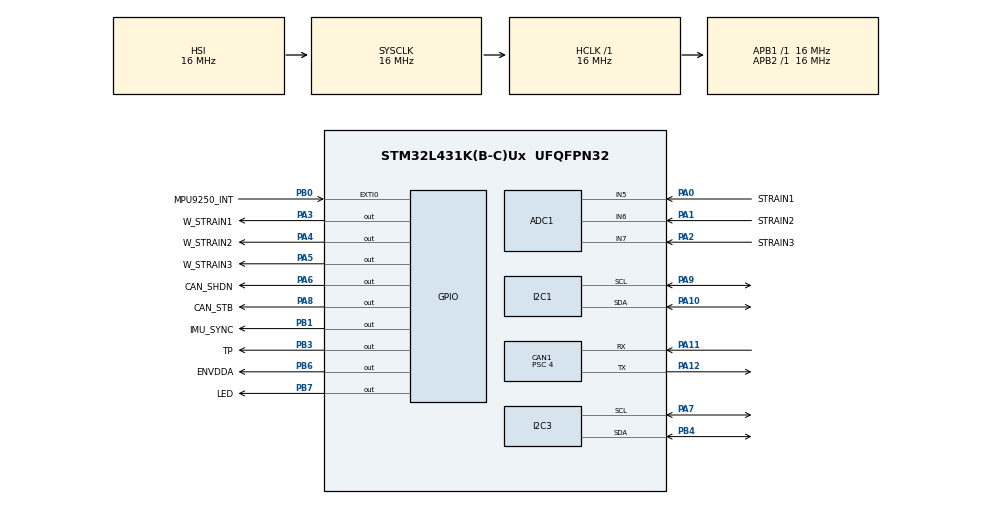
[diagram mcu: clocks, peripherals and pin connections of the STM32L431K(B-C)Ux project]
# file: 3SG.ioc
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ADC1.Channel-0\#ChannelRegularConversion=ADC_CHANNEL_5
ADC1.Channel-1\#ChannelRegularConversion=ADC_CHANNEL_6
ADC1.Channel-2\#ChannelRegularConversion=ADC_CHANNEL_7
ADC1.ClockPrescaler=ADC_CLOCK_ASYNC_DIV2
ADC1.ContinuousConvMode=ENABLE
ADC1.DMAContinuousRequests=ENABLE
ADC1.EOCSelection=ADC_EOC_SEQ_CONV
ADC1.NbrOfConversion=3
ADC1.NbrOfConversionFlag=1
ADC1.OffsetNumber-0\#ChannelRegularConversion=ADC_OFFSET_NONE
ADC1.OffsetNumber-1\#ChannelRegularConversion=ADC_OFFSET_NONE
ADC1.OffsetNumber-2\#ChannelRegularConversion=ADC_OFFSET_NONE
ADC1.OversamplingMode=ENABLE
ADC1.Rank-0\#ChannelRegularConversion=1
ADC1.Rank-1\#ChannelRegularConversion=2
ADC1.Rank-2\#ChannelRegularConversion=3
ADC1.Ratio=ADC_OVERSAMPLING_RATIO_32
ADC1.RightBitShift=ADC_RIGHTBITSHIFT_4
ADC1.SamplingTime-0\#ChannelRegularConversion=ADC_SAMPLETIME_6CYCLES_5
ADC1.SamplingTime-1\#ChannelRegularConversion=ADC_SAMPLETIME_6CYCLES_5
ADC1.SamplingTime-2\#ChannelRegularConversion=ADC_SAMPLETIME_6CYCLES_5
ADC1.master=1
CAN1.ABOM=ENABLE
CAN1.AWUM=ENABLE
CAN1.BS1=CAN_BS1_2TQ
CAN1.CalculateTimeQuantum=250.0
CAN1.Prescaler=4
Dma.ADC1.0.Direction=DMA_PERIPH_TO_MEMORY
Dma.ADC1.0.Instance=DMA1_Channel1
Dma.ADC1.0.MemDataAlignment=DMA_MDATAALIGN_HALFWORD
Dma.ADC1.0.MemInc=DMA_MINC_ENABLE
Dma.ADC1.0.Mode=DMA_CIRCULAR
Dma.ADC1.0.PeriphDataAlignment=DMA_PDATAALIGN_HALFWORD
Dma.ADC1.0.PeriphInc=DMA_PINC_DISABLE
Dma.ADC1.0.Priority=DMA_PRIORITY_LOW
Dma.I2C1_RX.1.Direction=DMA_PERIPH_TO_MEMORY
Dma.I2C1_RX.1.Instance=DMA1_Channel7
Dma.I2C1_RX.1.MemDataAlignment=DMA_MDATAALIGN_BYTE
Dma.I2C1_RX.1.MemInc=DMA_MINC_ENABLE
Dma.I2C1_RX.1.Mode=DMA_NORMAL
Dma.I2C1_RX.1.PeriphDataAlignment=DMA_PDATAALIGN_BYTE
Dma.I2C1_RX.1.PeriphInc=DMA_PINC_DISABLE
Dma.I2C1_RX.1.Priority=DMA_PRIORITY_LOW
Dma.I2C1_TX.2.Direction=DMA_MEMORY_TO_PERIPH
Dma.I2C1_TX.2.Instance=DMA1_Channel6
Dma.I2C1_TX.2.MemDataAlignment=DMA_MDATAALIGN_BYTE
Dma.I2C1_TX.2.MemInc=DMA_MINC_ENABLE
Dma.I2C1_TX.2.Mode=DMA_NORMAL
Dma.I2C1_TX.2.PeriphDataAlignment=DMA_PDATAALIGN_BYTE
Dma.I2C1_TX.2.PeriphInc=DMA_PINC_DISABLE
Dma.I2C1_TX.2.Priority=DMA_PRIORITY_LOW
Dma.I2C3_RX.3.Direction=DMA_PERIPH_TO_MEMORY
Dma.I2C3_RX.3.Instance=DMA1_Channel3
Dma.I2C3_RX.3.MemDataAlignment=DMA_MDATAALIGN_BYTE
Dma.I2C3_RX.3.MemInc=DMA_MINC_ENABLE
Dma.I2C3_RX.3.Mode=DMA_NORMAL
Dma.I2C3_RX.3.PeriphDataAlignment=DMA_PDATAALIGN_BYTE
Dma.I2C3_RX.3.PeriphInc=DMA_PINC_DISABLE
Dma.I2C3_RX.3.Priority=DMA_PRIORITY_LOW
Dma.I2C3_TX.4.Direction=DMA_MEMORY_TO_PERIPH
Dma.I2C3_TX.4.Instance=DMA1_Channel2
Dma.I2C3_TX.4.MemDataAlignment=DMA_MDATAALIGN_BYTE
Dma.I2C3_TX.4.MemInc=DMA_MINC_ENABLE
Dma.I2C3_TX.4.Mode=DMA_NORMAL
Dma.I2C3_TX.4.PeriphDataAlignment=DMA_PDATAALIGN_BYTE
Dma.I2C3_TX.4.PeriphInc=DMA_PINC_DISABLE
Dma.I2C3_TX.4.Priority=DMA_PRIORITY_LOW
Dma.Request0=ADC1
Dma.Request1=I2C1_RX
Dma.Request2=I2C1_TX
Dma.Request3=I2C3_RX
Dma.Request4=I2C3_TX
I2C1.Timing=0x00303D5B
I2C3.Timing=0x00303D5B
Mcu.Family=STM32L4
Mcu.Name=STM32L431K(B-C)Ux
Mcu.Package=UFQFPN32
NVIC.ADC1_IRQn=true\:0\:0\:false\:false\:true\:true
NVIC.CAN1_RX0_IRQn=true\:0\:0\:false\:false\:true\:true
NVIC.CAN1_RX1_IRQn=true\:0\:0\:false\:false\:true\:true
NVIC.CAN1_SCE_IRQn=true\:0\:0\:false\:false\:true\:true
NVIC.CAN1_TX_IRQn=true\:0\:0\:false\:false\:true\:true
NVIC.DMA1_Channel1_IRQn=true\:0\:0\:false\:false\:true\:false
NVIC.DMA1_Channel2_IRQn=true\:0\:0\:false\:false\:true\:false
NVIC.DMA1_Channel3_IRQn=true\:0\:0\:false\:false\:true\:false
NVIC.DMA1_Channel6_IRQn=true\:0\:0\:false\:false\:true\:false
NVIC.DMA1_Channel7_IRQn=true\:0\:0\:false\:false\:true\:false
NVIC.EXTI0_IRQn=true\:0\:0\:false\:false\:true\:true
NVIC.I2C1_ER_IRQn=true\:0\:0\:false\:false\:true\:true
NVIC.I2C1_EV_IRQn=true\:0\:0\:false\:false\:true\:true
NVIC.I2C3_ER_IRQn=true\:0\:0\:false\:false\:true\:true
NVIC.I2C3_EV_IRQn=true\:0\:0\:false\:false\:true\:true
NVIC.PriorityGroup=NVIC_PRIORITYGROUP_4
NVIC.TIM1_BRK_TIM15_IRQn=true\:0\:0\:false\:false\:true\:true
NVIC.TIM1_CC_IRQn=true\:0\:0\:false\:false\:true\:true
NVIC.TIM1_TRG_COM_IRQn=true\:0\:0\:false\:false\:true\:true
NVIC.TIM1_UP_TIM16_IRQn=true\:0\:0\:false\:false\:true\:true
NVIC.TIM2_IRQn=true\:0\:0\:false\:false\:true\:true
NVIC.TIM6_DAC_IRQn=true\:0\:0\:false\:false\:true\:true
NVIC.TIM7_IRQn=true\:0\:0\:false\:false\:true\:true
PA0.GPIO_Label=STRAIN1
PA0.Signal=ADCx_IN5
PA1.GPIO_Label=STRAIN2
PA1.Signal=ADCx_IN6
PA10.Mode=I2C
PA10.Signal=I2C1_SDA
PA11.Mode=Master
PA11.Signal=CAN1_RX
PA12.Mode=Master
PA12.Signal=CAN1_TX
PA13\ (JTMS-SWDIO).Mode=Serial_Wire
PA13\ (JTMS-SWDIO).Signal=SYS_JTMS-SWDIO
PA14\ (JTCK-SWCLK).Mode=Serial_Wire
PA14\ (JTCK-SWCLK).Signal=SYS_JTCK-SWCLK
PA2.GPIO_Label=STRAIN3
PA2.Signal=ADCx_IN7
PA3.GPIO_Label=W_STRAIN1
PA3.GPIO_ModeDefaultOutputPP=GPIO_MODE_OUTPUT_OD
PA3.PinState=GPIO_PIN_SET
PA3.Signal=GPIO_Output
PA4.GPIO_Label=W_STRAIN2
PA4.GPIO_ModeDefaultOutputPP=GPIO_MODE_OUTPUT_OD
PA4.PinState=GPIO_PIN_SET
PA4.Signal=GPIO_Output
PA5.GPIO_Label=W_STRAIN3
PA5.GPIO_ModeDefaultOutputPP=GPIO_MODE_OUTPUT_OD
PA5.PinState=GPIO_PIN_SET
PA5.Signal=GPIO_Output
PA6.GPIO_Label=CAN_SHDN
PA6.Signal=GPIO_Output
PA7.Mode=I2C
PA7.Signal=I2C3_SCL
PA8.GPIO_Label=CAN_STB
PA8.Signal=GPIO_Output
PA9.Mode=I2C
PA9.Signal=I2C1_SCL
PB0.GPIO_Label=MPU9250_INT
PB0.Signal=GPXTI0
PB1.GPIO_Label=IMU_SYNC
PB1.Signal=GPIO_Output
PB3\ (JTDO-TRACESWO).GPIO_Label=TP
PB3\ (JTDO-TRACESWO).Signal=GPIO_Output
PB4\ (NJTRST).Mode=I2C
PB4\ (NJTRST).Signal=I2C3_SDA
PB6.GPIO_Label=ENVDDA
PB6.GPIO_PuPd=GPIO_PULLDOWN
PB6.Signal=GPIO_Output
PB7.GPIO_Label=LED
PB7.Signal=GPIO_Output
ProjectManager.HeapSize=0x200
ProjectManager.StackSize=0x400
ProjectManager.TargetToolchain=MDK-ARM V5
RCC.ADCFreq_Value=80000000
RCC.AHBFreq_Value=16000000
RCC.APB1Freq_Value=16000000
RCC.APB1TimFreq_Value=16000000
RCC.APB2Freq_Value=16000000
RCC.APB2TimFreq_Value=16000000
RCC.CortexFreq_Value=16000000
RCC.HCLKFreq_Value=16000000
RCC.HSE_VALUE=8000000
RCC.HSI48_VALUE=48000000
RCC.HSI_VALUE=16000000
RCC.LSE_VALUE=32768
RCC.MSI_VALUE=4000000
RCC.PLLSAI1N=10
RCC.PLLSourceVirtual=RCC_PLLSOURCE_HSI
RCC.SYSCLKFreq_VALUE=16000000
RCC.SYSCLKSource=RCC_SYSCLKSOURCE_HSI
RCC.VCOOutputFreq_Value=128000000
SH.ADCx_IN5.0=ADC1_IN5,IN5-Single-Ended
SH.ADCx_IN6.0=ADC1_IN6,IN6-Single-Ended
SH.ADCx_IN7.0=ADC1_IN7,IN7-Single-Ended
TIM1.Period=10000
TIM1.Prescaler=16
TIM15.Period=200
TIM15.Prescaler=1600
TIM16.Period=1000
TIM16.Prescaler=1600
TIM2.Period=10000
TIM2.Prescaler=16
TIM6.Period=1
TIM6.Prescaler=1600
TIM7.Period=1
TIM7.Prescaler=1600
VP_TIM15_VS_ClockSourceINT.Mode=Internal
VP_TIM16_VS_ClockSourceINT.Mode=Enable_Timer
VP_TIM1_VS_ClockSourceINT.Mode=Internal
VP_TIM2_VS_ClockSourceINT.Mode=Internal
VP_TIM6_VS_ClockSourceINT.Mode=Enable_Timer
VP_TIM7_VS_ClockSourceINT.Mode=Enable_Timer
board=custom

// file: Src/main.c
/* USER CODE BEGIN Header */
/**
  ******************************************************************************
  * @file           : main.c
  * @brief          : Main program body
  ******************************************************************************
  ** This notice applies to any and all portions of this file
  * that are not between comment pairs USER CODE BEGIN and
  * USER CODE END. Other portions of this file, whether
  * inserted by the user or by software development tools
  * are owned by their respective copyright owners.
  *
  * COPYRIGHT(c) 2019 STMicroelectronics
  *
  * Redistribution and use in source and binary forms, with or without modification,
  * are permitted provided that the following conditions are met:
  *   1. Redistributions of source code must retain the above copyright notice,
  *      this list of conditions and the following disclaimer.
  *   2. Redistributions in binary form must reproduce the above copyright notice,
  *      this list of conditions and the following disclaimer in the documentation
  *      and/or other materials provided with the distribution.
  *   3. Neither the name of STMicroelectronics nor the names of its contributors
  *      may be used to endorse or promote products derived from this software
  *      without specific prior written permission.
  *
  * THIS SOFTWARE IS PROVIDED BY THE COPYRIGHT HOLDERS AND CONTRIBUTORS "AS IS"
  * AND ANY EXPRESS OR IMPLIED WARRANTIES, INCLUDING, BUT NOT LIMITED TO, THE
  * IMPLIED WARRANTIES OF MERCHANTABILITY AND FITNESS FOR A PARTICULAR PURPOSE ARE
  * DISCLAIMED. IN NO EVENT SHALL THE COPYRIGHT HOLDER OR CONTRIBUTORS BE LIABLE
  * FOR ANY DIRECT, INDIRECT, INCIDENTAL, SPECIAL, EXEMPLARY, OR CONSEQUENTIAL
  * DAMAGES (INCLUDING, BUT NOT LIMITED TO, PROCUREMENT OF SUBSTITUTE GOODS OR
  * SERVICES; LOSS OF USE, DATA, OR PROFITS; OR BUSINESS INTERRUPTION) HOWEVER
  * CAUSED AND ON ANY THEORY OF LIABILITY, WHETHER IN CONTRACT, STRICT LIABILITY,
  * OR TORT (INCLUDING NEGLIGENCE OR OTHERWISE) ARISING IN ANY WAY OUT OF THE USE
  * OF THIS SOFTWARE, EVEN IF ADVISED OF THE POSSIBILITY OF SUCH DAMAGE.
  *
  ******************************************************************************
  */
/* USER CODE END Header */

#include "main.h"
#include "adc.h"
#include "can.h"
#include "dma.h"
#include "i2c.h"
#include "tim.h"
#include "gpio.h"

/* USER CODE BEGIN Includes */
#include "define.h"
#include "global_var.h"
#include "can_utility.h"
#include "Si705x.h"
#include "MPU9250.h"
#include "PGA308.h"

/* USER CODE END Includes */

/* USER CODE BEGIN PV */
char Firmware_vers = 0;
char Revision_vers = 0;
char Build_number  = 0;

uint8_t can_message = 0;
uint32_t Temperature_TOPboard;

uint8_t CHANNEL=1;

uint8_t PGA308_DimBufferTXbit=8*PGA308_DimBufferTX;
uint8_t bit_count=0;
uint8_t byte_count=0;
uint8_t bit_count_rel=0;

/* USER CODE END PV */

void SystemClock_Config(void);
/* USER CODE BEGIN PFP */

void TIMER_Init(void);
void CANBUS(void);
void TIMER_PROG(uint16_t value);
void SelfCalibration(uint8_t channel, uint8_t reg);
void PGA_CoarseOffset_Calib(uint8_t channel, uint16_t DAC_OUT);
void PGA_FineOffset_Calib(uint8_t channel, uint16_t DAC_OUT);
void PGA_StableRegister(uint16_t REGISTER);

/* USER CODE END PFP */

int main(void)
{

  /* MCU Configuration--------------------------------------------------------*/

  /* Reset of all peripherals, Initializes the Flash interface and the Systick. */
  HAL_Init();

  /* Configure the system clock */
  SystemClock_Config();

  /* Initialize all configured peripherals */
  MX_GPIO_Init();
  MX_DMA_Init();
  MX_ADC1_Init();
  MX_CAN1_Init();
  MX_I2C1_Init();
  MX_I2C3_Init();
  MX_TIM1_Init();
  MX_TIM2_Init();
  MX_TIM6_Init();
  MX_TIM7_Init();
  MX_TIM15_Init();
  MX_TIM16_Init();
  /* USER CODE BEGIN 2 */

  TIMER_Init();
  CAN_Config();
  MPU9250_init();
  PGA308_init();

  HAL_ADCEx_Calibration_Start(&hadc1, ADC_SINGLE_ENDED);
  HAL_Delay(100);
  HAL_ADC_Start_DMA(&hadc1, (uint32_t*)adc_values, STRAIN_CHANNELS);

  REGISTER=RAM_CFG0;

  //PGA308_DefaultConfig();

  //HAL_Delay(100);
  /* USER CODE END 2 */

  /* Infinite loop */
  /* USER CODE BEGIN WHILE */
  while (1)
  {
    if(PGA308_StartCalib){
      TIMER_PROG(1000);
      PGA308_StartCalib=0;
      PGA308_DefaultConfig();
    }
    else
    {
      if(REG_OK==0) {SelfCalibration(CHANNEL, REGISTER);}
      else{
        if(CHANNEL<STRAIN_CHANNELS) {
          REG_OK=0;
          CHANNEL++;
        }
        else{
          if(REGISTER==RAM_CFG0){
            HAL_Delay(100);
            REGISTER=RAM_ZDAC;
            REG_OK=0;
            CHANNEL=1;
          }
          else if(REGISTER==RAM_ZDAC){
            TIMER_PROG(10000);
            REGISTER=RAM_GDAC;
          }
        }
      }
    }

    Si705x_ReadTemperature();
    MPU9250();
    HAL_Delay(100);
    CANBUS();

//    LED_ON;
//    //HAL_GPIO_WritePin(LED_GPIO_Port, LED_Pin, GPIO_PIN_RESET);
//    //HAL_GPIO_TogglePin(LED_GPIO_Port, LED_Pin);
//    HAL_Delay(200);
//    LED_OFF;
//    //HAL_GPIO_WritePin(LED_GPIO_Port, LED_Pin, GPIO_PIN_SET);

    /* USER CODE END WHILE */

  }
}

void SystemClock_Config(void)
{
  RCC_OscInitTypeDef RCC_OscInitStruct = {0};
  RCC_ClkInitTypeDef RCC_ClkInitStruct = {0};
  RCC_PeriphCLKInitTypeDef PeriphClkInit = {0};

  /**Initializes the CPU, AHB and APB busses clocks
  */
  RCC_OscInitStruct.OscillatorType = RCC_OSCILLATORTYPE_HSI;
  RCC_OscInitStruct.HSIState = RCC_HSI_ON;
  RCC_OscInitStruct.HSICalibrationValue = RCC_HSICALIBRATION_DEFAULT;
  RCC_OscInitStruct.PLL.PLLState = RCC_PLL_NONE;
  if (HAL_RCC_OscConfig(&RCC_OscInitStruct) != HAL_OK)
  {
    Error_Handler();
  }
  /**Initializes the CPU, AHB and APB busses clocks
  */
  RCC_ClkInitStruct.ClockType = RCC_CLOCKTYPE_HCLK|RCC_CLOCKTYPE_SYSCLK
                              |RCC_CLOCKTYPE_PCLK1|RCC_CLOCKTYPE_PCLK2;
  RCC_ClkInitStruct.SYSCLKSource = RCC_SYSCLKSOURCE_HSI;
  RCC_ClkInitStruct.AHBCLKDivider = RCC_SYSCLK_DIV1;
  RCC_ClkInitStruct.APB1CLKDivider = RCC_HCLK_DIV1;
  RCC_ClkInitStruct.APB2CLKDivider = RCC_HCLK_DIV1;

  if (HAL_RCC_ClockConfig(&RCC_ClkInitStruct, FLASH_LATENCY_0) != HAL_OK)
  {
    Error_Handler();
  }
  PeriphClkInit.PeriphClockSelection = RCC_PERIPHCLK_I2C1|RCC_PERIPHCLK_I2C3
                              |RCC_PERIPHCLK_ADC;
  PeriphClkInit.I2c1ClockSelection = RCC_I2C1CLKSOURCE_PCLK1;
  PeriphClkInit.I2c3ClockSelection = RCC_I2C3CLKSOURCE_PCLK1;
  PeriphClkInit.AdcClockSelection = RCC_ADCCLKSOURCE_PLLSAI1;
  PeriphClkInit.PLLSAI1.PLLSAI1Source = RCC_PLLSOURCE_HSI;
  PeriphClkInit.PLLSAI1.PLLSAI1M = 1;
  PeriphClkInit.PLLSAI1.PLLSAI1N = 10;
  PeriphClkInit.PLLSAI1.PLLSAI1P = RCC_PLLP_DIV7;
  PeriphClkInit.PLLSAI1.PLLSAI1Q = RCC_PLLQ_DIV2;
  PeriphClkInit.PLLSAI1.PLLSAI1R = RCC_PLLR_DIV2;
  PeriphClkInit.PLLSAI1.PLLSAI1ClockOut = RCC_PLLSAI1_ADC1CLK;
  if (HAL_RCCEx_PeriphCLKConfig(&PeriphClkInit) != HAL_OK)
  {
    Error_Handler();
  }
  /**Configure the main internal regulator output voltage
  */
  if (HAL_PWREx_ControlVoltageScaling(PWR_REGULATOR_VOLTAGE_SCALE1) != HAL_OK)
  {
    Error_Handler();
  }
}

/* USER CODE BEGIN 4 */

// -----------------------------------------------------------------------------------------------------------------------------
// CAN messages management
// -----------------------------------------------------------------------------------------------------------------------------
void CANBUS(void){
	switch(can_message){
    case 0x00:
    {
      TxData[0] = 0xFF;               //
      TxData[1] = can_message;        //
      TxData[2] = Firmware_vers;      // Firmware version
      TxData[3] = Revision_vers;      // Revision version
      TxData[4] = Build_number;       // Build number
      TxData[5] = PGA308[1].CFG0_OS>>8;
      TxData[6] = PGA308[1].CFG0_OS;
      TxData[7] = 0;
      if (HAL_CAN_AddTxMessage(&hcan1, &TxHeader, TxData, &TxMailbox) != HAL_OK){
        /* Transmission request Error */
        Error_Handler();
      }
      can_message = 1;
    }
    break;

    case 0x01:
    {
      TxData[0] = 0xFF;
      TxData[1] = can_message;
      TxData[2] = ((adc_measure.STRAIN1)>>8) & 0x000000FF;
      TxData[3] = adc_measure.STRAIN1 & 0x000000FF;
      TxData[4] = ((adc_measure.STRAIN2)>>8) & 0x000000FF;
      TxData[5] = adc_measure.STRAIN2 & 0x000000FF;
      TxData[6] = ((adc_measure.STRAIN3)>>8) & 0x000000FF;
      TxData[7] = adc_measure.STRAIN3 & 0x000000FF;
      if (HAL_CAN_AddTxMessage(&hcan1, &TxHeader, TxData, &TxMailbox) != HAL_OK){
        /* Transmission request Error */
        Error_Handler();
      }
      can_message = 2;
    }
    break;

    case 0x02:
    {
      TxData[0] = 0xFF;
      TxData[1] = can_message;
      TxData[2] = Temperature_board>>8;
      TxData[3] = Temperature_board;
      TxData[4] = 0;
      TxData[5] = 0;
      TxData[6] = 0;
      TxData[7] = 0;
      if (HAL_CAN_AddTxMessage(&hcan1, &TxHeader, TxData, &TxMailbox) != HAL_OK){
        /* Transmission request Error */
        Error_Handler();
      }
      can_message = 3;
    }
    break;

    case 0x03:
    {
      TxData[0] = 0xff;
      TxData[1] = can_message;
      TxData[2] = *(MPU9250_SensorValue+0);
      TxData[3] = *(MPU9250_SensorValue+1);
      TxData[4] = *(MPU9250_SensorValue+2);
      TxData[5] = *(MPU9250_SensorValue+3);
      TxData[6] = *(MPU9250_SensorValue+4);
      TxData[7] = *(MPU9250_SensorValue+5);
      if (HAL_CAN_AddTxMessage(&hcan1, &TxHeader, TxData, &TxMailbox) != HAL_OK){
        /* Transmission request Error */
        Error_Handler();
      }
      can_message = 0;
    }
    break;

    default:
    {
    }
    break;
  }
}

// -----------------------------------------------------------------------------------------------------------------------------
// I2C Callback
// -----------------------------------------------------------------------------------------------------------------------------
void HAL_I2C_MasterTxCpltCallback(I2C_HandleTypeDef *I2cHandle)
{
  if(I2cHandle->Instance==I2C1){
    HAL_I2C_Master_Receive_DMA(&hi2c1, (uint16_t)MPU9250_I2C_ADDRESS, (uint8_t*)MPU9250_RxBuffer, sizeof(MPU9250_RxBuffer));
  }

  if(I2cHandle->Instance==I2C3){
    HAL_I2C_Master_Receive_DMA(&hi2c3, (uint16_t)Si705x_I2C_ADDRESS, (uint8_t*)Si705x_I2C3_RxBuffer, sizeof(Si705x_I2C3_RxBuffer));
  }
}

void HAL_I2C_MasterRxCpltCallback(I2C_HandleTypeDef *I2cHandle)
{
  if(I2cHandle->Instance==I2C1){
    MPU9250_SensorValue = MPU9250_RxBuffer;
  }

  if(I2cHandle->Instance==I2C3){
    Temperature_code = (Si705x_I2C3_RxBuffer[0]<<8) + Si705x_I2C3_RxBuffer[1];
    Temperature_board = ((17572*Temperature_code)/65536) - 4685;  // HEX temperature in degrees Celsius (x100)
    if(Temperature_code != Temperature_code_prev){
    Temperature_code_prev=Temperature_code;
    }
  }
}

// -----------------------------------------------------------------------------------------------------------------------------
// ADC
// -----------------------------------------------------------------------------------------------------------------------------
void HAL_ADC_ConvCpltCallback(ADC_HandleTypeDef* hadc){
  //HAL_ADC_Stop_DMA(&hadc1);
  adc_measure.STRAIN1 = (*(adc_values+0));//*0.687+58.5;     // mV
  adc_measure.STRAIN2 = (*(adc_values+1));//*0.687+58.5;     // mV
  adc_measure.STRAIN3 = (*(adc_values+2));//*0.687+58.5;     // mV

  //HAL_ADC_Start_DMA(&hadc1, (uint32_t*)adc_values, 6);
  //calcMean();
  //CANBUS();
}

void calcMean(){
  adc_samples.STRAIN1[adc_sample] = adc_measure.STRAIN1;
  adc_samples.STRAIN2[adc_sample] = adc_measure.STRAIN2;
  adc_samples.STRAIN3[adc_sample] = adc_measure.STRAIN3;

  if(adc_sample < (nr_adc_sample-1))  {adc_sample++;}
  else                                {adc_sample=0;}

  mean.STRAIN1=0;
	mean.STRAIN2=0;
	mean.STRAIN3=0;

  for(uint16_t i=0; i < nr_adc_sample; i++){
    mean.STRAIN1 += adc_samples.STRAIN1[i];
    mean.STRAIN2 += adc_samples.STRAIN2[i];
    mean.STRAIN3 += adc_samples.STRAIN3[i];
  }

  mean.STRAIN1 = mean.STRAIN1 / nr_adc_sample;
  mean.STRAIN2 = mean.STRAIN2 / nr_adc_sample;
  mean.STRAIN3 = mean.STRAIN3 / nr_adc_sample;
}

// -----------------------------------------------------------------------------------------------------------------------------
// Timers Callback
// -----------------------------------------------------------------------------------------------------------------------------
void HAL_TIM_PeriodElapsedCallback(TIM_HandleTypeDef *htim){
  if(htim->Instance==TIM6){         // timer 10ms
    if(bit_count_rel==0){       // START condition of One-Wire Protocol
      PGA308_BitValue(PGA308_channel, LOW);
      bit_count_rel++;
    }
    else if(bit_count_rel==9){   // STOP condition of One-Wire Protocol
      PGA308_BitValue(PGA308_channel, HIGH);
      bit_count_rel=0;
      byte_count++;
    }
    else{                       // Transmission of One-Wire Protocol
      if(bit_count<PGA308_DimBufferTXbit){
        if(((PGA308_BufferTx[byte_count])>>(bit_count_rel-1)) & 0x01){
          PGA308_BitValue(PGA308_channel, HIGH);
        }
        else{
          PGA308_BitValue(PGA308_channel, LOW);
        }
        bit_count++;
        bit_count_rel++;
      }
      else{
        PGA308_BitValue(PGA308_channel, HIGH);
        HAL_TIM_Base_Stop_IT(&htim6);
        bit_count=0;
        bit_count_rel=0;
        byte_count=0;
        HAL_TIM_Base_Start_IT(&htim15);
        REG_Value=0;
      }
    }
	}

	if(htim->Instance==TIM7){        // timer 100ms
    if(bit_count_rel==0){       // START condition of One-Wire Protocol
      PGA308_BitValue(PGA308_channel, LOW);
      bit_count_rel++;
    }
    else if(bit_count_rel==9){   // STOP condition of One-Wire Protocol
      PGA308_BitValue(PGA308_channel, HIGH);
      bit_count_rel=0;
      byte_count++;
    }
    else{                       // Transmission of One-Wire Protocol
      if(bit_count<16){
        if(((PGA308_BufferTx[byte_count])>>(bit_count_rel-1)) & 0x01){
          PGA308_BitValue(PGA308_channel, HIGH);
        }
        else{
          PGA308_BitValue(PGA308_channel, LOW);
        }
        bit_count++;
        bit_count_rel++;
      }
      else{
        PGA308_BitValue(PGA308_channel, HIGH);
        HAL_TIM_Base_Stop_IT(&htim7);
        bit_count=0;
        bit_count_rel=0;
        byte_count=0;
        HAL_TIM_Base_Start_IT(&htim15);
        can_message=0x10;
      }
    }
	}

  if(htim->Instance==TIM15){        // timer 20ms
    PGA308_StartComm=0;
    HAL_TIM_Base_Stop_IT(&htim15);
	}

  if(htim->Instance==TIM16){        // timer xxx ms
    //HAL_GPIO_TogglePin(LED_GPIO_Port, LED_Pin);
	}

}

void TIMER_PROG(uint16_t value){     // example: value=10000 -> 1s, value=1000 -> 100ms, value=100 -> 10ms
  htim16.Init.Period = value;
  HAL_TIM_Base_Init(&htim16);
}

// -----------------------------------------------------------------------------------------------------------------------------
// Timers initialization
// -----------------------------------------------------------------------------------------------------------------------------
void TIMER_Init(void){
  __HAL_TIM_CLEAR_IT(&htim6, TIM_IT_UPDATE);
  __HAL_TIM_CLEAR_IT(&htim7, TIM_IT_UPDATE);
  __HAL_TIM_CLEAR_IT(&htim15, TIM_IT_UPDATE);
  __HAL_TIM_CLEAR_IT(&htim16, TIM_IT_UPDATE);

	HAL_TIM_Base_Start_IT(&htim16);
}

// -----------------------------------------------------------------------------------------------------------------------------
// FT Sensor Self-Calibration for any channel, by using coarse and fine offset tuning
// -----------------------------------------------------------------------------------------------------------------------------
void SelfCalibration(uint8_t channel, uint8_t reg){
  uint16_t DAC_OUT;

  if      (channel==1)  {DAC_OUT=adc_measure.STRAIN1;}
  else if (channel==2)  {DAC_OUT=adc_measure.STRAIN2;}
  else if (channel==3)  {DAC_OUT=adc_measure.STRAIN3;}

  if(reg==RAM_CFG0){
    PGA_CoarseOffset_Calib(channel, DAC_OUT);                         // Coarse calibration using CFG0.OS register
    PGA_StableRegister(PGA308[channel].CFG0_OS);                      // Check if value is stable or not
    if(REG_Value){                                                    // If value is not stable yet, write a better value in CFG0.OS
      PGA308[channel].CFG0 = ((PGA308[channel].CFG0 & 0xFF00) | PGA308[channel].CFG0_OS);
      PGA308_WriteRegister(channel, reg, PGA308[channel].CFG0);
    }
  }

  if(reg==RAM_ZDAC){
    PGA_FineOffset_Calib(channel, DAC_OUT);                           // Fine calibration using ZDAC register
    PGA_StableRegister(PGA308[channel].ZDAC);                         // Check if value is stable or not
    if(REG_Value){                                                    // If value is not stable yet, write a better value in ZDAC
      PGA308_WriteRegister(channel, reg, PGA308[channel].ZDAC);
    }
  }
}

// -----------------------------------------------------------------------------------------------------------------------------
// PGA308 Coarse Offset Calibration - Register CFG0.OS
// -----------------------------------------------------------------------------------------------------------------------------
void PGA_CoarseOffset_Calib(uint8_t channel, uint16_t DAC_OUT){
  if(DAC_OUT < 4096){                         // 4096 metа scala dell'ADC, metto diverso per poter poi calibrare finemente col Zero DAC
    if(PGA308[channel].CFG0_OS>>7 == 0) {
      if(PGA308[channel].CFG0_OS<0x64)  {PGA308[channel].CFG0_OS++;}
    }
    else{
      if( (PGA308[channel].CFG0_OS & 0x7F) > 0)   {PGA308[channel].CFG0_OS--;}
      else                                        {PGA308[channel].CFG0_OS=0x00;}
    }
  }
  else{
    if(PGA308[channel].CFG0_OS>>7 == 0) {
      if( (PGA308[channel].CFG0_OS & 0x7F) > 0)   {PGA308[channel].CFG0_OS--;}
      else                                        {PGA308[channel].CFG0_OS=0x80;}
    }
    else{
      if( (PGA308[channel].CFG0_OS & 0x7F)<0x64)  {PGA308[channel].CFG0_OS++;}
    }
  }
}

// -----------------------------------------------------------------------------------------------------------------------------
// PGA308 Fine Offset Calibration - Register ZDAC
// -----------------------------------------------------------------------------------------------------------------------------
void PGA_FineOffset_Calib(uint8_t channel, uint16_t DAC_OUT){
  if(DAC_OUT < 4096){                         // 4096 metа scala dell'ADC
    if(PGA308[channel].ZDAC > 0x0000)  {PGA308[channel].ZDAC--;}
  }
  else{
    if(PGA308[channel].ZDAC < 0xFFFF)  {PGA308[channel].ZDAC++;}
  }
}

// -----------------------------------------------------------------------------------------------------------------------------
// PGA308 Check the stability of register values
// -----------------------------------------------------------------------------------------------------------------------------
void PGA_StableRegister(uint16_t REGISTER){
  uint8_t i;

  if(REG_count <= REG_max_count){
    REG_value_tran[REG_count]=REGISTER;
    REG_count++;
    if(REG_count > REG_max_count)   {REG_count=0; REG_GO=1;}
  }

  for(i=0; i <= REG_max_count; i++){
    if(REG_value_tran[i] > REG_value_tran[REG_max_count]){
      if( (REG_value_tran[i] - REG_value_tran[REG_max_count]) <= 1){
        REG_tran++;
      }
    }
    else{
      if( REG_value_tran[REG_max_count] - (REG_value_tran[i]) <= 1){
        REG_tran++;
      }
    }
  }

  if(REG_GO){
    if(REG_tran != REG_max_count) {REG_Value=1;}
    else                          {REG_Value=0; REG_OK=1; REG_GO=0;}
  }
  REG_tran=0;
}

/* USER CODE END 4 */

void Error_Handler(void)
{
}

/************************ (C) COPYRIGHT STMicroelectronics *****END OF FILE****/
